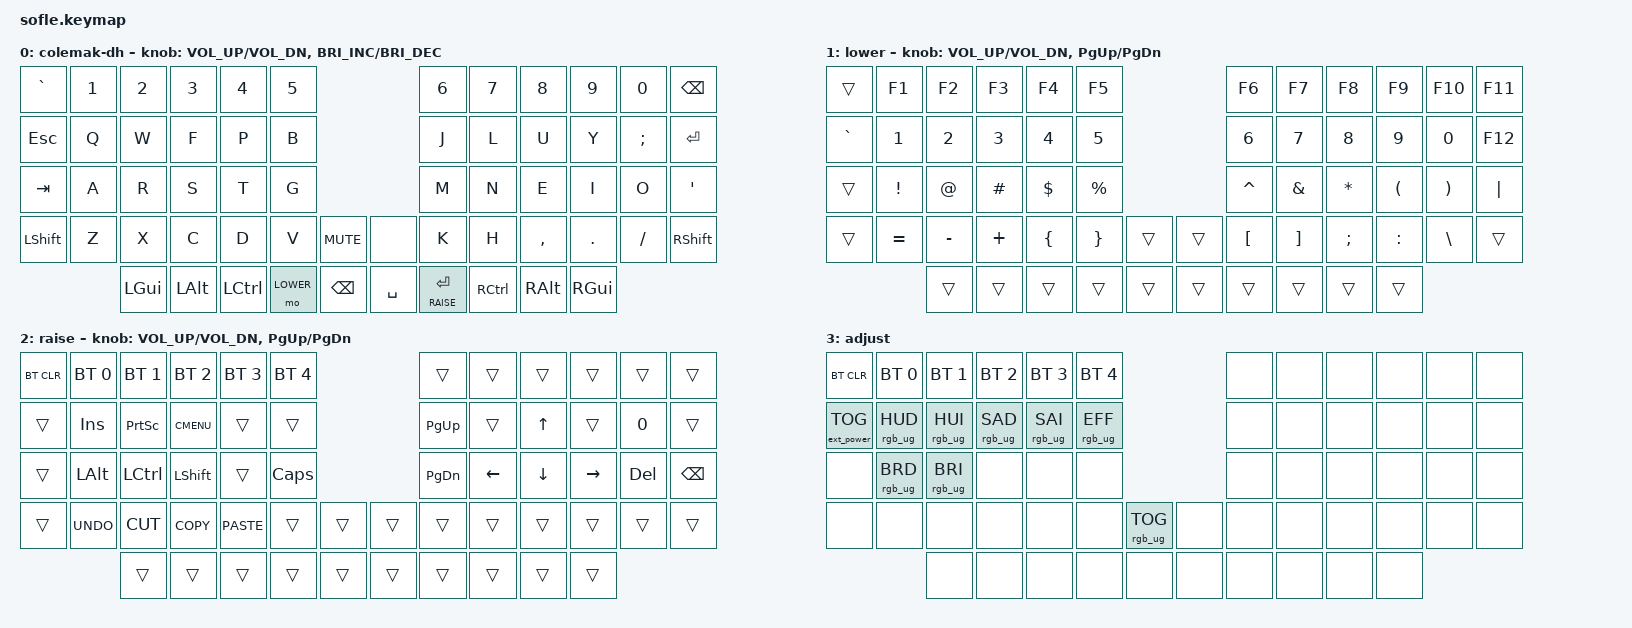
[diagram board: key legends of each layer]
/*
 * Copyright (c) 2020 The ZMK Contributors
 *
 * SPDX-License-Identifier: MIT
 */
 
#include <behaviors.dtsi>
#include <dt-bindings/zmk/bt.h>
#include <dt-bindings/zmk/ext_power.h>
#include <dt-bindings/zmk/keys.h>
#include <dt-bindings/zmk/rgb.h>
 
#define BASE 0
#define LOWER 1
#define RAISE 2
#define ADJUST 3
 
/ {
    // Activate ADJUST layer by pressing raise and lower
 
    conditional_layers {
        compatible = "zmk,conditional-layers";
 
        adjust_layer {
            if-layers = <LOWER RAISE>;
            then-layer = <ADJUST>;
        };
    };
 
    keymap {
        compatible = "zmk,keymap";
 
        default_layer {
            display-name = "colemak-dh";
 
            // ------------------------------------------------------------------------------------------------------------
            // |   `   |  1  |  2  |  3   |  4   |  5   |                   |  6   |  7    |  8    |  9   |   0   | BKSPC |
            // |  ESC  |  Q  |  W  |  F   |  P   |  B   |                   |  J   |  L    |  U    |  Y   |   ;   | ENTER |
            // |  TAB  |  A  |  R  |  S   |  T   |  G   |                   |  M   |  N    |  E    |  I   |   O   |   '   |
            // | SHIFT |  Z  |  X  |  C   |  D   |  V   |  MUTE  |  |       |  K   |  H    |  ,    |  .   |   /   | SHIFT |
            //               | GUI | ALT  | CTRL | LOWER| BKSPC  |  | SPACE |RSE/ENT| CTRL | ALT   | GUI  |
 
            bindings = <
&kp GRAVE       &kp N1  &kp N2    &kp N3    &kp N4     &kp N5                                   &kp N6     &kp N7     &kp N8     &kp N9    &kp N0         &kp BSPC
&kp ESC         &kp Q   &kp W     &kp F     &kp P      &kp B                                    &kp J      &kp L      &kp U      &kp Y     &kp SEMICOLON  &kp ENTER
&kp TAB         &kp A   &kp R     &kp S     &kp T      &kp G                                    &kp M      &kp N      &kp E      &kp I     &kp O          &kp SQT
&kp LEFT_SHIFT  &kp Z   &kp X     &kp C     &kp D      &kp V        &kp C_MUTE       &none       &kp K      &kp H      &kp COMMA  &kp DOT   &kp FSLH       &kp RSHFT
                        &kp LGUI  &kp LALT  &kp LCTRL  &mo LOWER    &kp BACKSPACE    &kp SPACE   &lt RAISE RET  &kp RCTRL  &kp RALT   &kp RGUI
            >;
 
            sensor-bindings =
                <&inc_dec_kp C_VOL_UP C_VOL_DN>,
                <&inc_dec_kp C_BRIGHTNESS_INC C_BRIGHTNESS_DEC>;
        };
 
        lower_layer {
            display-name = "lower";
 
            // TODO: Some binds are waiting for shifted keycode support.
            // ------------------------------------------------------------------------------------------------------------
            // |       |  F1 |  F2 |  F3  |  F4  |  F5  |                   |  F6  |  F7   |  F8   |  F9  |  F10  |  F11  |
            // |   `   |  1  |  2  |  3   |  4   |  5   |                   |  6   |  7    |  8    |  9   |   0   |  F12  |
            // |       |  !  |  @  |  #   |  $   |  %   |                   |  ^   |  &    |  *    |  (   |   )   |   |   |
            // |       |  =  |  -  |  +   |  {   |  }   |        |  |       |  [   |  ]    |  ;    |  :   |   \   |       |
            //               |     |      |      |      |        |  |       |      |       |       |      |
 
            bindings = <
&trans     &kp F1     &kp F2     &kp F3    &kp F4    &kp F5                       &kp F6     &kp F7    &kp F8     &kp F9     &kp F10   &kp F11
&kp GRAVE  &kp N1     &kp N2     &kp N3    &kp N4    &kp N5                       &kp N6     &kp N7    &kp N8     &kp N9     &kp N0    &kp F12
&trans     &kp EXCL   &kp AT     &kp HASH  &kp DLLR  &kp PRCNT                    &kp CARET  &kp AMPS  &kp ASTRK  &kp LPAR   &kp RPAR  &kp PIPE
&trans     &kp EQUAL  &kp MINUS  &kp PLUS  &kp LBRC  &kp RBRC   &trans    &trans  &kp LBKT   &kp RBKT  &kp SEMI   &kp COLON  &kp BSLH  &trans
                      &trans     &trans    &trans    &trans     &trans    &trans  &trans     &trans    &trans     &trans
            >;
 
            sensor-bindings = <&inc_dec_kp C_VOL_UP C_VOL_DN &inc_dec_kp PG_UP PG_DN>;
        };
 
        raise_layer {
            display-name = "raise";
 
            // ------------------------------------------------------------------------------------------------------------
            // | BTCLR | BT1  | BT2  |  BT3  |  BT4  |  BT5 |                |      |      |       |      |       |       |
            // |       | INS  | PSCR | GUI   |       |      |                | PGUP |      |   ^   |      |       |       |
            // |       | ALT  | CTRL | SHIFT |       | CAPS |                | PGDN |   <- |   v   |  ->  |  DEL  | BKSPC |
            // |       | UNDO | CUT  | COPY  | PASTE |      |      |  |      |      |      |       |      |       |       |
            //                |      |       |       |      |      |  |      |      |      |       |      |
 
            bindings = <
&bt BT_CLR  &bt BT_SEL 0  &bt BT_SEL 1  &bt BT_SEL 2  &bt BT_SEL 3  &bt BT_SEL 4                    &trans     &trans    &trans    &trans     &trans   &trans
&trans      &kp INS       &kp PSCRN     &kp K_CMENU   &trans        &trans                          &kp PG_UP  &trans    &kp UP    &trans     &kp N0   &trans
&trans      &kp LALT      &kp LCTRL     &kp LSHFT     &trans        &kp CLCK                        &kp PG_DN  &kp LEFT  &kp DOWN  &kp RIGHT  &kp DEL  &kp BSPC
&trans      &kp K_UNDO    &kp K_CUT     &kp K_COPY    &kp K_PASTE   &trans        &trans    &trans  &trans     &trans    &trans    &trans     &trans   &trans
                          &trans        &trans        &trans        &trans        &trans    &trans  &trans     &trans    &trans    &trans
            >;
 
            sensor-bindings = <&inc_dec_kp C_VOL_UP C_VOL_DN &inc_dec_kp PG_UP PG_DN>;
        };
 
        adjust_layer {
            // ----------------------------------------------------------------------------------------------------------------------------
            // | BTCLR  |  BT1    |  BT2    |   BT3   |   BT4   |   BT5   |                  |      |      |       |      |       |       |
            // | EXTPWR | RGB_HUD | RGB_HUI | RGB_SAD | RGB_SAI | RGB_EFF |                  |      |      |       |      |       |       |
            // |        | RGB_BRD | RGB_BRI |         |         |         |                  |      |      |       |      |       |       |
            // |        |         |         |         |         |         | RGB_TOG | |      |      |      |       |      |       |       |
            //                    |         |         |         |         |         | |      |      |      |       |      |
 
            display-name = "adjust";
            bindings = <
&bt BT_CLR         &bt BT_SEL 0     &bt BT_SEL 1     &bt BT_SEL 2     &bt BT_SEL 3     &bt BT_SEL 4                               &none  &none  &none  &none  &none  &none
&ext_power EP_TOG  &rgb_ug RGB_HUD  &rgb_ug RGB_HUI  &rgb_ug RGB_SAD  &rgb_ug RGB_SAI  &rgb_ug RGB_EFF                            &none  &none  &none  &none  &none  &none
&none              &rgb_ug RGB_BRD  &rgb_ug RGB_BRI  &none            &none            &none                                      &none  &none  &none  &none  &none  &none
&none              &none            &none            &none            &none            &none            &rgb_ug RGB_TOG    &none  &none  &none  &none  &none  &none  &none
                                    &none            &none            &none            &none            &none              &none  &none  &none  &none  &none
            >;
        };
    };
};
 
